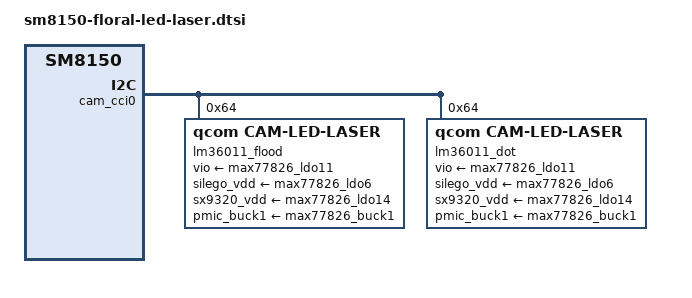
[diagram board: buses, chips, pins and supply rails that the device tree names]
/*
 * Copyright (c) 2018, The Linux Foundation. All rights reserved.
 *
 * This program is free software; you can redistribute it and/or modify
 * it under the terms of the GNU General Public License version 2 and
 * only version 2 as published by the Free Software Foundation.
 *
 * This program is distributed in the hope that it will be useful,
 * but WITHOUT ANY WARRANTY; without even the implied warranty of
 * MERCHANTABILITY or FITNESS FOR A PARTICULAR PURPOSE.  See the
 * GNU General Public License for more details.
 */

&cam_cci0 {

	lm36011_flood: qcom,cam-led-laser-flood@64 {
		compatible = "qcom,cam-led-laser";
		cci-device = <0>;
		cci-master = <0>;
		reg = <0x64>;
		vio-supply = <&max77826_ldo11>;
		silego_vdd-supply = <&max77826_ldo6>;
		sx9320_vdd-supply = <&max77826_ldo14>;
		pmic_buck1-supply = <&max77826_buck1>;
		pmic_buck2-supply = <&max77826_buck2>;
		sx9320_sid = <0x28>;
		regulator-names = "vio", "silego_vdd", "sx9320_vdd",
			"pmic_buck1", "pmic_buck2";
		laser-type = <0>;
		hw-version = <1>;
		status = "ok";
	};

	lm36011_dot: qcom,cam-led-laser-dot@64 {
		compatible = "qcom,cam-led-laser";
		cci-device = <0>;
		cci-master = <1>;
		reg = <0x64>;
		vio-supply = <&max77826_ldo11>;
		silego_vdd-supply = <&max77826_ldo6>;
		sx9320_vdd-supply = <&max77826_ldo14>;
		pmic_buck1-supply = <&max77826_buck1>;
		pmic_buck2-supply = <&max77826_buck2>;
		sx9320_sid = <0x28>;
		hdc2010_sid = <0x40>;
		regulator-names = "vio", "silego_vdd", "sx9320_vdd",
			"pmic_buck1", "pmic_buck2";
		laser-type = <1>;
		hw-version = <1>;
		status = "ok";
	};

};
